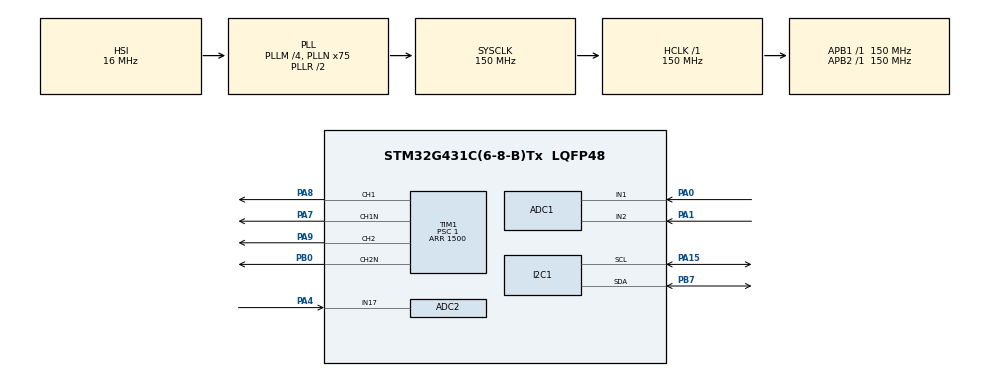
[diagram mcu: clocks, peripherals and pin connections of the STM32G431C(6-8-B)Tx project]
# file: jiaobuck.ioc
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ADC1.Channel-6\#ChannelRegularConversion=ADC_CHANNEL_1
ADC1.Channel-7\#ChannelRegularConversion=ADC_CHANNEL_2
ADC1.ContinuousConvMode=DISABLE
ADC1.DiscontinuousConvMode=ENABLE
ADC1.EnableInjectedConversion=DISABLE
ADC1.EnableInjectedOversampling=DISABLE
ADC1.EnableRegularConversion=ENABLE
ADC1.GainCompensation=0
ADC1.Mode=ADC_MODE_INDEPENDENT
ADC1.NbrOfConversion=2
ADC1.NbrOfConversionFlag=1
ADC1.NbrOfDiscConversion=2
ADC1.OffsetNumber-6\#ChannelRegularConversion=ADC_OFFSET_NONE
ADC1.OffsetNumber-7\#ChannelRegularConversion=ADC_OFFSET_NONE
ADC1.Overrun=ADC_OVR_DATA_OVERWRITTEN
ADC1.Rank-6\#ChannelRegularConversion=1
ADC1.Rank-7\#ChannelRegularConversion=2
ADC1.SamplingTime-6\#ChannelRegularConversion=ADC_SAMPLETIME_47CYCLES_5
ADC1.SamplingTime-7\#ChannelRegularConversion=ADC_SAMPLETIME_47CYCLES_5
ADC1.master=1
ADC2.Channel-0\#ChannelRegularConversion=ADC_CHANNEL_17
ADC2.ContinuousConvMode=DISABLE
ADC2.EnableInjectedConversion=ENABLE
ADC2.GainCompensation=0
ADC2.InjNumberOfConversion=1
ADC2.InjectedChannel-1\#ChannelInjectedConversion=ADC_CHANNEL_17
ADC2.InjectedOffsetNumber-1\#ChannelInjectedConversion=ADC_OFFSET_NONE
ADC2.InjectedRank-1\#ChannelInjectedConversion=1
ADC2.InjectedSamplingTime-1\#ChannelInjectedConversion=ADC_SAMPLETIME_2CYCLES_5
ADC2.NbrOfConversionFlag=1
ADC2.OffsetNumber-0\#ChannelRegularConversion=ADC_OFFSET_NONE
ADC2.Rank-0\#ChannelRegularConversion=1
ADC2.SamplingTime-0\#ChannelRegularConversion=ADC_SAMPLETIME_2CYCLES_5
I2C1.Timing=0x30D293D6
Mcu.Family=STM32G4
Mcu.Name=STM32G431C(6-8-B)Tx
Mcu.Package=LQFP48
NVIC.PriorityGroup=NVIC_PRIORITYGROUP_4
NVIC.TIM1_BRK_TIM15_IRQn=true\:0\:0\:false\:false\:true\:true\:true\:true
NVIC.TIM1_UP_TIM16_IRQn=true\:0\:0\:false\:false\:true\:true\:true\:true
NVIC.TIM2_IRQn=true\:0\:0\:false\:false\:true\:true\:true\:true
PA0.Mode=IN1-Single-Ended
PA0.Signal=ADC1_IN1
PA1.Mode=IN2-Single-Ended
PA1.Signal=ADC1_IN2
PA13.Mode=Serial_Wire
PA13.Signal=SYS_JTMS-SWDIO
PA14.Mode=Serial_Wire
PA14.Signal=SYS_JTCK-SWCLK
PA15.Mode=I2C
PA15.Signal=I2C1_SCL
PA4.Mode=IN17-Single-Ended
PA4.Signal=ADC2_IN17
PA7.Mode=PWM Generation1 CH1 CH1N
PA7.Signal=TIM1_CH1N
PA8.Signal=S_TIM1_CH1
PA9.Signal=S_TIM1_CH2
PB0.Mode=PWM Generation2 CH2 CH2N
PB0.Signal=TIM1_CH2N
PB7.Mode=I2C
PB7.Signal=I2C1_SDA
PF0-OSC_IN.Mode=HSE-External-Oscillator
PF0-OSC_IN.Signal=RCC_OSC_IN
PF1-OSC_OUT.Mode=HSE-External-Oscillator
PF1-OSC_OUT.Signal=RCC_OSC_OUT
ProjectManager.HeapSize=0x200
ProjectManager.StackSize=0x400
ProjectManager.TargetToolchain=MDK-ARM V5.32
RCC.ADC12Freq_Value=150000000
RCC.AHBFreq_Value=150000000
RCC.APB1Freq_Value=150000000
RCC.APB1TimFreq_Value=150000000
RCC.APB2Freq_Value=150000000
RCC.APB2TimFreq_Value=150000000
RCC.CortexFreq_Value=150000000
RCC.EXTERNAL_CLOCK_VALUE=12288000
RCC.HCLKFreq_Value=150000000
RCC.HSE_VALUE=8000000
RCC.HSI48_VALUE=48000000
RCC.HSI_VALUE=16000000
RCC.LSE_VALUE=32768
RCC.PLLM=RCC_PLLM_DIV4
RCC.PLLN=75
RCC.SYSCLKFreq_VALUE=150000000
RCC.SYSCLKSource=RCC_SYSCLKSOURCE_PLLCLK
RCC.USBFreq_Value=150000000
RCC.VCOOutputFreq_Value=300000000
SH.S_TIM1_CH1.0=TIM1_CH1,PWM Generation1 CH1 CH1N
SH.S_TIM1_CH2.0=TIM1_CH2,PWM Generation2 CH2 CH2N
TIM1.AutoReloadPreload=TIM_AUTORELOAD_PRELOAD_ENABLE
TIM1.Channel-PWM\ Generation1\ CH1\ CH1N=TIM_CHANNEL_1
TIM1.Channel-PWM\ Generation2\ CH2\ CH2N=TIM_CHANNEL_2
TIM1.DeadTime=100
TIM1.PeriodNoDither=1500
TIM1.Prescaler=1
TIM1.PulseNoDither_1=10
TIM1.PulseNoDither_2=1000
TIM2.AutoReloadPreload=TIM_AUTORELOAD_PRELOAD_ENABLE
TIM2.PeriodNoDither=3000
TIM2.Prescaler=1
VP_SYS_VS_DBSignals.Mode=DisableDeadBatterySignals
VP_TIM1_VS_ClockSourceINT.Mode=Internal
VP_TIM2_VS_ClockSourceINT.Mode=Internal
board=custom

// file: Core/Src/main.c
/* USER CODE BEGIN Header */
/**
 ******************************************************************************
 * @file           : main.c
 * @brief          : Main program body
 ******************************************************************************
 * @attention
 *
 * Copyright (c) 2025 STMicroelectronics.
 * All rights reserved.
 *
 * This software is licensed under terms that can be found in the LICENSE file
 * in the root directory of this software component.
 * If no LICENSE file comes with this software, it is provided AS-IS.
 *
 ******************************************************************************
 */
/* USER CODE END Header */
#include "main.h"
#include "adc.h"
#include "i2c.h"
#include "tim.h"
#include "gpio.h"

/* USER CODE BEGIN Includes */
float adc[2];
float adcu;
float adci1;
float adci2;
float adci2_aver;
float adci1_aver;
float adcu_aver;
#include "pid.h"
#include "adcget.h"

/* USER CODE END Includes */

/* USER CODE BEGIN PTD */
int m = 0;
 PID_HandleTypeDef pid_u;
  PID_HandleTypeDef pid_i;
void HAL_TIM_PeriodElapsedCallback(TIM_HandleTypeDef *htim)
{

  if (htim->Instance = htim2.Instance)
  {
    adci1_aver = adci1_aver / m/4096*3.3;
    adci2_aver = adci2_aver / m/4096*3.3;
    adcu_aver = adcu_aver / m/4096*3.3;
    int refu;
       int refi1;
          int refi2;
       refu=PID_Calculate(&pid_u,adcu_aver);
        PID_SetPoint(&pid_i,refu);
refi1=PID_Calculate(&pid_i,adci1_aver);
refi1=PID_Calculate(&pid_i,adci2_aver);
//__HAL_TIM_SetCompare(&htim1,TIM_CHANNEL_1,refi1);
//__HAL_TIM_SetCompare(&htim1,TIM_CHANNEL_1,refi2);

    m = 0;
    adci1_aver = 0;
    adcu_aver = 0;
    adci2_aver = 0;
  }
  if (htim->Instance = htim1.Instance)
  {

   getadc_value();
    adci1_aver += adci1;
    adcu_aver += adcu;
    adci2_aver += adci2;
    m++;
  }
}

/* USER CODE END PTD */

void SystemClock_Config(void);

int main(void)
{

  /* MCU Configuration--------------------------------------------------------*/

  /* Reset of all peripherals, Initializes the Flash interface and the Systick. */
  HAL_Init();

  /* Configure the system clock */
  SystemClock_Config();

  /* Initialize all configured peripherals */
  MX_GPIO_Init();
  MX_ADC1_Init();
  MX_ADC2_Init();
  MX_TIM1_Init();
  MX_I2C1_Init();
  MX_TIM2_Init();
  /* USER CODE BEGIN 2 */

  PID_Init(&pid_i, 10, 1, 0, 0);
  PID_Init(&pid_u, 0, 1, 0, 0);

    PID_SetPoint(&pid_u,20);
  HAL_TIM_Base_Start_IT(&htim2);
	  HAL_TIM_Base_Start_IT(&htim1);

  HAL_TIM_PWM_Start(&htim1, TIM_CHANNEL_1);
  HAL_TIM_PWM_Start(&htim1, TIM_CHANNEL_2);
  HAL_TIMEx_PWMN_Start(&htim1, TIM_CHANNEL_2);
  HAL_TIMEx_PWMN_Start(&htim1, TIM_CHANNEL_1);
  /* USER CODE END 2 */

  /* Infinite loop */
  while (1)
  {

	}
}

void SystemClock_Config(void)
{
  RCC_OscInitTypeDef RCC_OscInitStruct = {0};
  RCC_ClkInitTypeDef RCC_ClkInitStruct = {0};

  /** Configure the main internal regulator output voltage
  */
  HAL_PWREx_ControlVoltageScaling(PWR_REGULATOR_VOLTAGE_SCALE1);

  /** Initializes the RCC Oscillators according to the specified parameters
  * in the RCC_OscInitTypeDef structure.
  */
  RCC_OscInitStruct.OscillatorType = RCC_OSCILLATORTYPE_HSI;
  RCC_OscInitStruct.HSIState = RCC_HSI_ON;
  RCC_OscInitStruct.HSICalibrationValue = RCC_HSICALIBRATION_DEFAULT;
  RCC_OscInitStruct.PLL.PLLState = RCC_PLL_ON;
  RCC_OscInitStruct.PLL.PLLSource = RCC_PLLSOURCE_HSI;
  RCC_OscInitStruct.PLL.PLLM = RCC_PLLM_DIV4;
  RCC_OscInitStruct.PLL.PLLN = 75;
  RCC_OscInitStruct.PLL.PLLP = RCC_PLLP_DIV2;
  RCC_OscInitStruct.PLL.PLLQ = RCC_PLLQ_DIV2;
  RCC_OscInitStruct.PLL.PLLR = RCC_PLLR_DIV2;
  if (HAL_RCC_OscConfig(&RCC_OscInitStruct) != HAL_OK)
  {
    Error_Handler();
  }

  /** Initializes the CPU, AHB and APB buses clocks
  */
  RCC_ClkInitStruct.ClockType = RCC_CLOCKTYPE_HCLK|RCC_CLOCKTYPE_SYSCLK
                              |RCC_CLOCKTYPE_PCLK1|RCC_CLOCKTYPE_PCLK2;
  RCC_ClkInitStruct.SYSCLKSource = RCC_SYSCLKSOURCE_PLLCLK;
  RCC_ClkInitStruct.AHBCLKDivider = RCC_SYSCLK_DIV1;
  RCC_ClkInitStruct.APB1CLKDivider = RCC_HCLK_DIV1;
  RCC_ClkInitStruct.APB2CLKDivider = RCC_HCLK_DIV1;

  if (HAL_RCC_ClockConfig(&RCC_ClkInitStruct, FLASH_LATENCY_4) != HAL_OK)
  {
    Error_Handler();
  }
}

void Error_Handler(void)
{
  __disable_irq();
  while (1)
  {
  }
}
